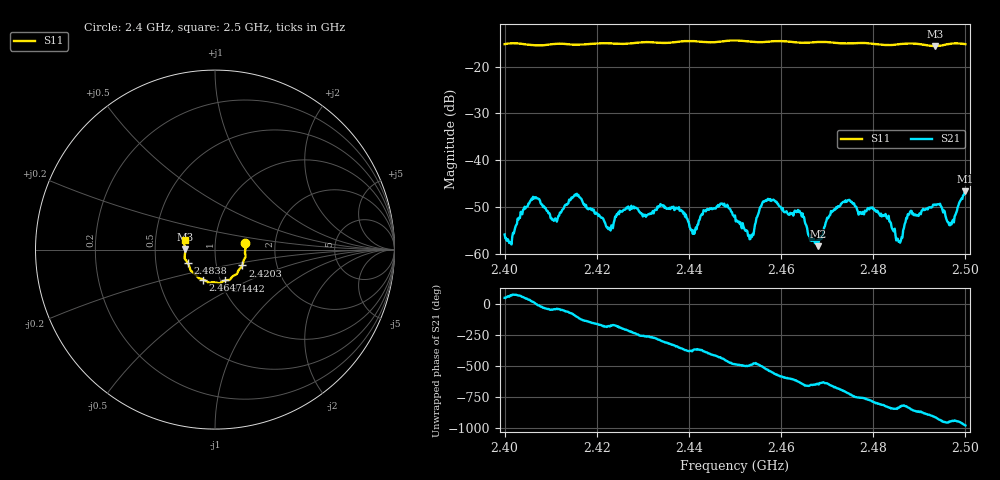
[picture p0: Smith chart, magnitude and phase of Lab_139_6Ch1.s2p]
# Hz S RI R 50
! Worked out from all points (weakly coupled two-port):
!   601 points, 2.4 GHz to 2.5 GHz, reference 50 ohm
!   highest |S21| = -46.60 dB at 2.5 GHz (marker M1); lowest = -58.3 dB at 2.468 GHz (marker M2)
!   lowest |S11| = -15.6 dB at 2.4935 GHz (marker M3), VSWR 1.40, Z = 35.8 + j0.0878 ohm
!   |S11| at or under -10 dB: start of sweep to end of sweep
!   S12 and S22 are empty: the file has one direction only
!   S11 on the Smith chart (normalised r, x): 2.4 GHz: 1.40, +0.11; 2.4203 GHz: 1.34, -0.24; 2.4442 GHz: 1.06, -0.37; 2.4647 GHz: 0.83, -0.29; 2.4838 GHz: 0.73, -0.11; 2.5 GHz: 0.71, +0.08
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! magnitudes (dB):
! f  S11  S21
! 2.4 GHz  -15.2  -55.8
! 2.4063 GHz  -15.4  -48.1
! 2.4108 GHz  -15.2  -52.7
! 2.4167 GHz  -15.3  -48.2
! 2.4203 GHz  -15.1  -51.9
! 2.4333 GHz  -14.9  -50.0
! 2.4408 GHz  -14.6  -55.7
! 2.4442 GHz  -14.8  -50.5
! 2.45 GHz  -14.4  -51.7
! 2.4533 GHz  -14.7  -56.8
! 2.4567 GHz  -14.8  -48.5
! 2.4647 GHz  -14.9  -51.3
! 2.4667 GHz  -14.9  -57.2
! 2.468 GHz  -14.8  -58.3
! 2.4743 GHz  -15.1  -48.7
! 2.4833 GHz  -15.4  -51.8
! 2.4838 GHz  -15.4  -53.4
! 2.4858 GHz  -15.2  -57.6
! 2.4878 GHz  -15.1  -51.4
! 2.4935 GHz  -15.6  -49.4
! 2.497 GHz  -15.1  -53.6
! 2.5 GHz  -15.2  -46.6
